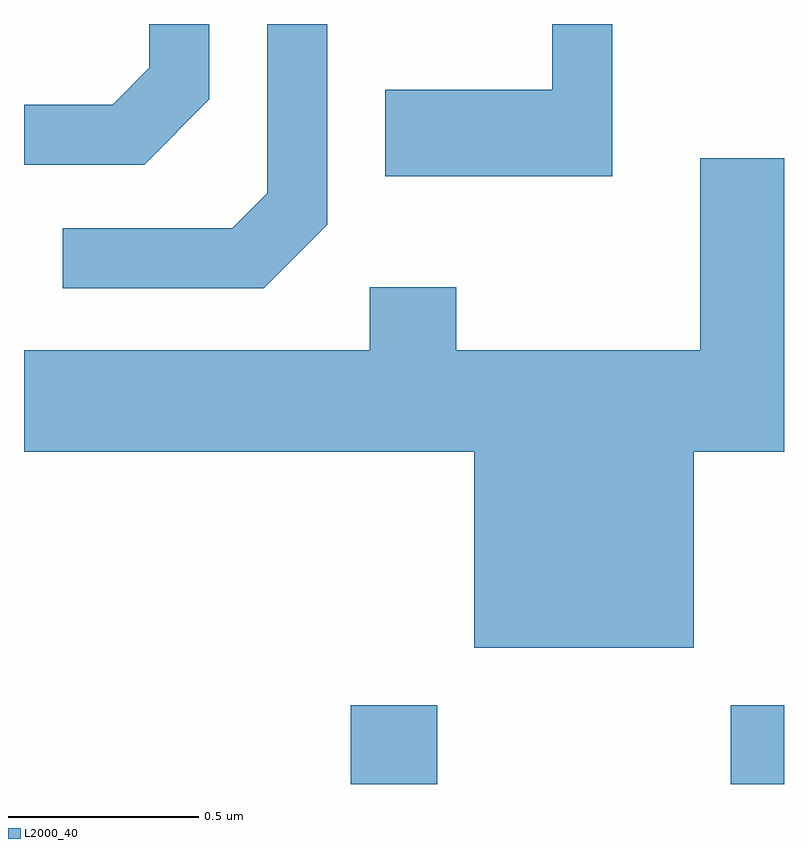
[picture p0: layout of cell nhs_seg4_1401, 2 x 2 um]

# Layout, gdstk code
import gdstk
lib = gdstk.Library(unit=1e-6, precision=1e-09)
def R(c, l, rs):  # rectangles x0, y0, x1, y1
    for r in rs: c.add(gdstk.rectangle(r[:2], r[2:], *l))
def P(c, l, *ps):  # polygons
    for p in ps: c.add(gdstk.Polygon(p, *l))
L2000_40 = (2000, 40)

nhs_seg4_1401 = lib.new_cell('nhs_seg4_1401')
R(nhs_seg4_1401, L2000_40, [(196.471,1284.982,196.699,1285.189), (197.471,1284.982,197.611,1285.189)])
P(nhs_seg4_1401, L2000_40, [(196.409,1286.454),(196.409,1286.982),(196.251,1286.982),(196.251,1286.537),(196.159,1286.444),(195.713,1286.444),(195.713,1286.286),(196.242,1286.286)],
  [(197.159,1286.982),(197.001,1286.982),(197.001,1286.809),(196.561,1286.809),(196.561,1286.581),(197.159,1286.581)],
  [(196.099,1286.784),(196.099,1286.982),(195.941,1286.982),(195.941,1286.867),(195.844,1286.769),(195.611,1286.769),(195.611,1286.611),(195.927,1286.611)],
  [(197.374,1285.856),(197.611,1285.856),(197.611,1286.629),(197.391,1286.629),(197.391,1286.124),(196.749,1286.124),(196.749,1286.289),(196.521,1286.289),(196.521,1286.124),(195.611,1286.124),(195.611,1285.856),(196.796,1285.856),(196.796,1285.341),(197.374,1285.341)])

lib.write_gds('nhs_seg4_1401.gds')
